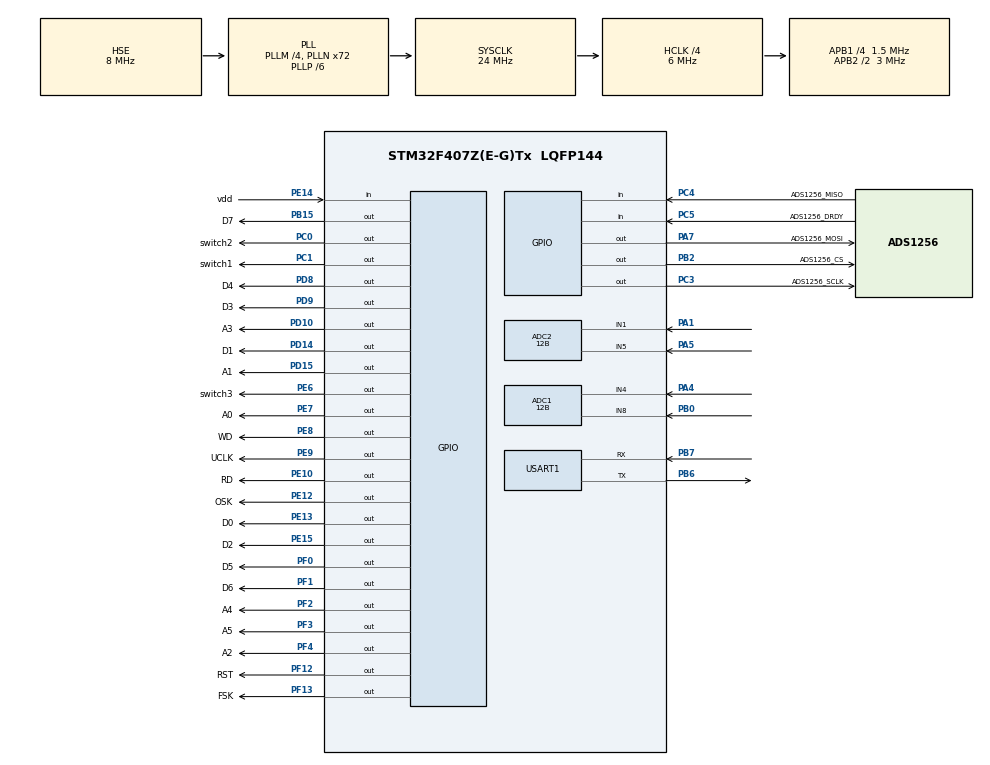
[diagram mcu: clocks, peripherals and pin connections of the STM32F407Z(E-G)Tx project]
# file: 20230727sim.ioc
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ADC1.Channel-0\#ChannelRegularConversion=ADC_CHANNEL_8
ADC1.ClockPrescaler=ADC_CLOCK_SYNC_PCLK_DIV4
ADC1.ContinuousConvMode=ENABLE
ADC1.ExternalTrigConv=ADC_EXTERNALTRIGCONV_T2_TRGO
ADC1.InjNumberOfConversion=0
ADC1.NbrOfConversion=1
ADC1.NbrOfConversionFlag=1
ADC1.Rank-0\#ChannelRegularConversion=1
ADC1.Resolution=ADC_RESOLUTION_12B
ADC1.SamplingTime-0\#ChannelRegularConversion=ADC_SAMPLETIME_3CYCLES
ADC1.master=1
ADC2.Channel-0\#ChannelRegularConversion=ADC_CHANNEL_1
ADC2.ClockPrescaler=ADC_CLOCK_SYNC_PCLK_DIV4
ADC2.ContinuousConvMode=ENABLE
ADC2.ExternalTrigConv=ADC_EXTERNALTRIGCONV_T2_TRGO
ADC2.NbrOfConversionFlag=1
ADC2.Rank-0\#ChannelRegularConversion=1
ADC2.Resolution=ADC_RESOLUTION_12B
ADC2.SamplingTime-0\#ChannelRegularConversion=ADC_SAMPLETIME_3CYCLES
Dma.ADC1.0.Direction=DMA_PERIPH_TO_MEMORY
Dma.ADC1.0.FIFOMode=DMA_FIFOMODE_DISABLE
Dma.ADC1.0.Instance=DMA2_Stream0
Dma.ADC1.0.MemDataAlignment=DMA_MDATAALIGN_HALFWORD
Dma.ADC1.0.MemInc=DMA_MINC_ENABLE
Dma.ADC1.0.Mode=DMA_NORMAL
Dma.ADC1.0.PeriphDataAlignment=DMA_PDATAALIGN_HALFWORD
Dma.ADC1.0.PeriphInc=DMA_PINC_DISABLE
Dma.ADC1.0.Priority=DMA_PRIORITY_HIGH
Dma.ADC2.1.Direction=DMA_PERIPH_TO_MEMORY
Dma.ADC2.1.FIFOMode=DMA_FIFOMODE_DISABLE
Dma.ADC2.1.Instance=DMA2_Stream2
Dma.ADC2.1.MemDataAlignment=DMA_MDATAALIGN_HALFWORD
Dma.ADC2.1.MemInc=DMA_MINC_ENABLE
Dma.ADC2.1.Mode=DMA_NORMAL
Dma.ADC2.1.PeriphDataAlignment=DMA_PDATAALIGN_HALFWORD
Dma.ADC2.1.PeriphInc=DMA_PINC_DISABLE
Dma.ADC2.1.Priority=DMA_PRIORITY_HIGH
Dma.Request0=ADC1
Dma.Request1=ADC2
Mcu.Family=STM32F4
Mcu.Name=STM32F407Z(E-G)Tx
Mcu.Package=LQFP144
NVIC.DMA2_Stream0_IRQn=true\:1\:0\:true\:false\:true\:false\:true\:true
NVIC.DMA2_Stream2_IRQn=true\:1\:0\:true\:false\:true\:false\:true\:true
NVIC.PriorityGroup=NVIC_PRIORITYGROUP_4
NVIC.TIM3_IRQn=true\:2\:0\:true\:false\:true\:true\:true\:true
NVIC.USART1_IRQn=true\:3\:0\:true\:false\:true\:true\:true\:true
PA1.Signal=ADCx_IN1
PA13.Mode=Serial_Wire
PA13.Signal=SYS_JTMS-SWDIO
PA14.Mode=Serial_Wire
PA14.Signal=SYS_JTCK-SWCLK
PA4.Signal=ADCx_IN4
PA5.Signal=ADCx_IN5
PA7.GPIO_Label=ADS1256_MOSI
PA7.GPIO_Speed=GPIO_SPEED_FREQ_HIGH
PA7.PinState=GPIO_PIN_RESET
PA7.Signal=GPIO_Output
PB0.Signal=ADCx_IN8
PB15.GPIO_Label=D7
PB15.Signal=GPIO_Output
PB2.GPIO_Label=ADS1256_CS
PB2.GPIO_Speed=GPIO_SPEED_FREQ_HIGH
PB2.Signal=GPIO_Output
PB6.Mode=Asynchronous
PB6.Signal=USART1_TX
PB7.Mode=Asynchronous
PB7.Signal=USART1_RX
PC0.GPIO_Label=switch2
PC0.Signal=GPIO_Output
PC1.GPIO_Label=switch1
PC1.Signal=GPIO_Output
PC14-OSC32_IN.Mode=LSE-External-Oscillator
PC14-OSC32_IN.Signal=RCC_OSC32_IN
PC15-OSC32_OUT.Mode=LSE-External-Oscillator
PC15-OSC32_OUT.Signal=RCC_OSC32_OUT
PC3.GPIO_Label=ADS1256_SCLK
PC3.GPIO_Speed=GPIO_SPEED_FREQ_HIGH
PC3.Signal=GPIO_Output
PC4.GPIO_Label=ADS1256_MISO
PC4.Signal=GPIO_Input
PC5.GPIO_Label=ADS1256_DRDY
PC5.Signal=GPIO_Input
PD10.GPIO_Label=A3
PD10.Signal=GPIO_Output
PD14.GPIO_Label=D1
PD14.Signal=GPIO_Output
PD15.GPIO_Label=A1
PD15.Signal=GPIO_Output
PD8.GPIO_Label=D4
PD8.Signal=GPIO_Output
PD9.GPIO_Label=D3
PD9.Signal=GPIO_Output
PE10.GPIO_Label=RD
PE10.Signal=GPIO_Output
PE12.GPIO_Label=OSK
PE12.Signal=GPIO_Output
PE13.GPIO_Label=D0
PE13.Signal=GPIO_Output
PE14.GPIO_Label=vdd
PE14.Signal=GPIO_Input
PE15.GPIO_Label=D2
PE15.Signal=GPIO_Output
PE6.GPIO_Label=switch3
PE6.Signal=GPIO_Output
PE7.GPIO_Label=A0
PE7.Signal=GPIO_Output
PE8.GPIO_Label=WD
PE8.Signal=GPIO_Output
PE9.GPIO_Label=UCLK
PE9.Signal=GPIO_Output
PF0.GPIO_Label=D5
PF0.Signal=GPIO_Output
PF1.GPIO_Label=D6
PF1.Signal=GPIO_Output
PF12.GPIO_Label=RST
PF12.Signal=GPIO_Output
PF13.GPIO_Label=FSK
PF13.Signal=GPIO_Output
PF2.GPIO_Label=A4
PF2.Signal=GPIO_Output
PF3.GPIO_Label=A5
PF3.Signal=GPIO_Output
PF4.GPIO_Label=A2
PF4.Signal=GPIO_Output
PH0-OSC_IN.Mode=HSE-External-Oscillator
PH0-OSC_IN.Signal=RCC_OSC_IN
PH1-OSC_OUT.Mode=HSE-External-Oscillator
PH1-OSC_OUT.Signal=RCC_OSC_OUT
ProjectManager.HeapSize=0x200
ProjectManager.StackSize=0x400
ProjectManager.TargetToolchain=MDK-ARM V5.32
RCC.48MHZClocksFreq_Value=36000000
RCC.AHBCLKDivider=RCC_SYSCLK_DIV4
RCC.AHBFreq_Value=6000000
RCC.APB1CLKDivider=RCC_HCLK_DIV4
RCC.APB1Freq_Value=1500000
RCC.APB1TimFreq_Value=3000000
RCC.APB2CLKDivider=RCC_HCLK_DIV2
RCC.APB2Freq_Value=3000000
RCC.APB2TimFreq_Value=6000000
RCC.CortexFreq_Value=6000000
RCC.HCLKFreq_Value=6000000
RCC.HSE_VALUE=8000000
RCC.HSI_VALUE=16000000
RCC.PLLM=4
RCC.PLLN=72
RCC.PLLP=RCC_PLLP_DIV6
RCC.PLLSourceVirtual=RCC_PLLSOURCE_HSE
RCC.SYSCLKFreq_VALUE=24000000
RCC.SYSCLKSource=RCC_SYSCLKSOURCE_PLLCLK
RCC.VCOOutputFreq_Value=144000000
SH.ADCx_IN1.0=ADC2_IN1,IN1
SH.ADCx_IN4.0=ADC1_IN4,IN4
SH.ADCx_IN5.0=ADC2_IN5,IN5
SH.ADCx_IN8.0=ADC1_IN8,IN8
TIM2.AutoReloadPreload=TIM_AUTORELOAD_PRELOAD_ENABLE
TIM2.Period=10-1
TIM2.Prescaler=3-1
TIM2.TIM_MasterOutputTrigger=TIM_TRGO_UPDATE
TIM3.AutoReloadPreload=TIM_AUTORELOAD_PRELOAD_ENABLE
TIM3.Period=1000-1
TIM3.Prescaler=3-1
TIM3.TIM_MasterOutputTrigger=TIM_TRGO_RESET
USART1.VirtualMode=VM_ASYNC
VP_TIM2_VS_ClockSourceINT.Mode=Internal
VP_TIM3_VS_ClockSourceINT.Mode=Internal
board=custom

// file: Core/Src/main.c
/* USER CODE BEGIN Header */
/**
  ******************************************************************************
  * @file           : main.c
  * @brief          : Main program body
  ******************************************************************************
  * @attention
  *
  * Copyright (c) 2023 STMicroelectronics.
  * All rights reserved.
  *
  * This software is licensed under terms that can be found in the LICENSE file
  * in the root directory of this software component.
  * If no LICENSE file comes with this software, it is provided AS-IS.
  *
  ******************************************************************************
  */
/* USER CODE END Header */
#include "main.h"
#include "adc.h"
#include "dma.h"
#include "tim.h"
#include "usart.h"
#include "gpio.h"

/* USER CODE BEGIN Includes */
#include "app.h"
#include "ADS1256.h"
#include "AD9854.h"
#include "gui.h"
#include "stdio.h"
#include "ad8302.h"
/* USER CODE END Includes */

/* USER CODE BEGIN PV */
extern volatile uint8_t ads1256_flag;
uint8_t rx_flag;		// receive from UART MENU
uint16_t ad8302_buf[10];
uint16_t mean;
/* USER CODE END PV */

void SystemClock_Config(void);

int main(void)
{

  /* MCU Configuration--------------------------------------------------------*/

  /* Reset of all peripherals, Initializes the Flash interface and the Systick. */
  HAL_Init();

  /* Configure the system clock */
  SystemClock_Config();

  /* Initialize all configured peripherals */
  MX_GPIO_Init();
  MX_DMA_Init();
  MX_USART1_UART_Init();
  MX_ADC1_Init();
  MX_ADC2_Init();
  MX_TIM2_Init();
  MX_TIM3_Init();
  /* USER CODE BEGIN 2 */
	// AD9854_InitSingle();	      	  					//AD9854点频模式初始化
	// AD9854_SetSine(12000000,4095);
  // 串口屏初始化
	// guiInit();
  // 采集序列频率数组初始化
  // for(int i=0;i<NUMS;i++) adc1256.frequency_array[i] = 5000000 + i * FRESTEP;

  // 测试，将自校正数组全填充为1
  // self_Calibration_Test();
	//receive from UART HMI
	HAL_UART_Receive_IT(&huart1, &rx_flag, 1);
  /* USER CODE END 2 */

  /* Infinite loop */
  /* USER CODE BEGIN WHILE */
	// start_Adc_1256();	// 打开ADS1256采样
	// for(int i=0;i<NUMS;i++)	printf("%d\r\n",adc1256.adc1256_buf_cos[i]);
	// changeAdcChannel(&hadc2, ADC_CHANNEL_1);
	// startAdc(ad8302_buf, &hadc2);
	// mean = ad8302_mean(ad8302_buf);
	// printf("增益: %.4f\r\n",ad8302_getAmp(mean));
	// printf("增益v: %.4f\r\n",(double)mean / 4095 * 3.3000);
	// changeAdcChannel(&hadc2, ADC_CHANNEL_5);
	startAdc(ad8302_buf, &hadc2);
	mean = ad8302_mean(ad8302_buf);
	printf("相位差: %.4f\r\n",ad8302_getPhase(mean));
	printf("相位差v: %.4f\r\n",(double)mean / 4095 * 3.3000);
  while (1)
  {
    /* USER CODE END WHILE */

  }
}

void SystemClock_Config(void)
{
  RCC_OscInitTypeDef RCC_OscInitStruct = {0};
  RCC_ClkInitTypeDef RCC_ClkInitStruct = {0};

  /** Configure the main internal regulator output voltage
  */
  __HAL_RCC_PWR_CLK_ENABLE();
  __HAL_PWR_VOLTAGESCALING_CONFIG(PWR_REGULATOR_VOLTAGE_SCALE1);

  /** Initializes the RCC Oscillators according to the specified parameters
  * in the RCC_OscInitTypeDef structure.
  */
  RCC_OscInitStruct.OscillatorType = RCC_OSCILLATORTYPE_HSE;
  RCC_OscInitStruct.HSEState = RCC_HSE_ON;
  RCC_OscInitStruct.PLL.PLLState = RCC_PLL_ON;
  RCC_OscInitStruct.PLL.PLLSource = RCC_PLLSOURCE_HSE;
  RCC_OscInitStruct.PLL.PLLM = 4;
  RCC_OscInitStruct.PLL.PLLN = 72;
  RCC_OscInitStruct.PLL.PLLP = RCC_PLLP_DIV6;
  RCC_OscInitStruct.PLL.PLLQ = 4;
  if (HAL_RCC_OscConfig(&RCC_OscInitStruct) != HAL_OK)
  {
    Error_Handler();
  }

  /** Initializes the CPU, AHB and APB buses clocks
  */
  RCC_ClkInitStruct.ClockType = RCC_CLOCKTYPE_HCLK|RCC_CLOCKTYPE_SYSCLK
                              |RCC_CLOCKTYPE_PCLK1|RCC_CLOCKTYPE_PCLK2;
  RCC_ClkInitStruct.SYSCLKSource = RCC_SYSCLKSOURCE_PLLCLK;
  RCC_ClkInitStruct.AHBCLKDivider = RCC_SYSCLK_DIV4;
  RCC_ClkInitStruct.APB1CLKDivider = RCC_HCLK_DIV4;
  RCC_ClkInitStruct.APB2CLKDivider = RCC_HCLK_DIV2;

  if (HAL_RCC_ClockConfig(&RCC_ClkInitStruct, FLASH_LATENCY_0) != HAL_OK)
  {
    Error_Handler();
  }
}

/* USER CODE BEGIN 4 */
/**
 * @brief ADC DMA 转换传输完成中断回调函数
 *
 * @param hadc
 */
void HAL_ADC_ConvCpltCallback(ADC_HandleTypeDef* hadc)
{
	if(hadc == &hadc1)								//ADC1转锟斤拷锟斤拷桑锟斤拷帽锟街疚晃?1
	{
		adc1_dma_flag = 1;
		return;
	}
	else if(hadc == &hadc2)
	{
		adc2_dma_flag = 1;
		return;
	}
}
/** @brief 定时器中断回调函数
 *
 * @param htim
 */
void HAL_TIM_PeriodElapsedCallback(TIM_HandleTypeDef *htim)
{
	if(htim == &htim3)
	{
		static int i = 0;
    // 分时复用ads1256的同一个通道
		if(adc1256.channel == COS)  adc1256.adc1256_buf_cos[i] = ADS1256ReadData(ADS1256_MUXP_AIN2, ADS1256_MUXN_AINCOM);
    else if(adc1256.channel == SIN)  adc1256.adc1256_buf_sin[i] = ADS1256ReadData(ADS1256_MUXP_AIN2, ADS1256_MUXN_AINCOM);
		i++;
		if(i==(NUMS))
		{
			i=0;
			HAL_TIM_Base_Stop_IT(&htim3);	// 开启ADS1256采样的方式就是打开定时器3
			adc1256.flag = 1;
		}
	}
	return ;
}

/**
 * @brief 串口接收中断回调函数,用于接收串口屏发送的指令
 *
 * @param huart
 */
void HAL_UART_RxCpltCallback(UART_HandleTypeDef *huart)
{
	if(huart->Instance == USART1)
	{
    switch (rx_flag)
    {
      // 测量S21参数
      case 0x01:
        REFRESH_CURSOR;
        REFRESH_WINDOW;
        measure_S21();
        printCurve();
        break;
      // 测量S11参数
      case 0x02:
        // REFRESH_CURSOR;
        // REFRESH_WINDOW;
        // measure_S11();
        // printCurve();
        break;
      // 幅/相频曲线显示切换
      case 0x03:
        REFRESH_CURSOR;
        REFRESH_WINDOW;
        changeCurveMode();
        printCurve();
        break;
      // error, 串口屏切换page时会输出带0x04的序列，故舍弃这个标志
      case 0x04:
        break;
      // 光标功能
      case 0x05:
        cursor.status = 1 - cursor.status;
        REFRESH_CURSOR;
        HAL_Delay(50);
        if (!cursor.status) break;    // 光标关闭
        startCursorMode();
        break;
      // 光标向右移动,步距为1
      case 0x06:
        if (!cursor.status) break;    // 光标关闭
        cursor.step = 1;
        moveCursor_Right();
        break;
      // 光标向左移动,步距为1
      case 0x07:
        if (!cursor.status) break;    // 光标关闭
        cursor.step = 1;
        moveCursor_Left();
        break;
      // 光标向右移动,步距为10
      case 0x08:
        if (!cursor.status) break;    // 光标关闭
        cursor.step = 10;
        moveCursor_Right();
        break;
      // 光标向左移动,步距为10
      case 0x09:
        if (!cursor.status) break;    // 光标关闭
        cursor.step = 10;
        moveCursor_Left();
        break;
      // 光标向右移动,步距为50
      case 0x10:
        if (!cursor.status) break;    // 光标关闭
        cursor.step = 50;
        moveCursor_Right();
        break;
      // 光标向左移动,步距为50
      case 0x11:
        if (!cursor.status) break;    // 光标关闭
        cursor.step = 50;
        moveCursor_Left();
        break;
      default:
        break;
    }
	}
	HAL_UART_Receive_IT(&huart1, &rx_flag, 1);	//receive from UART HMI
}
/* USER CODE END 4 */

void Error_Handler(void)
{
  __disable_irq();
  while (1)
  {
  }
}
